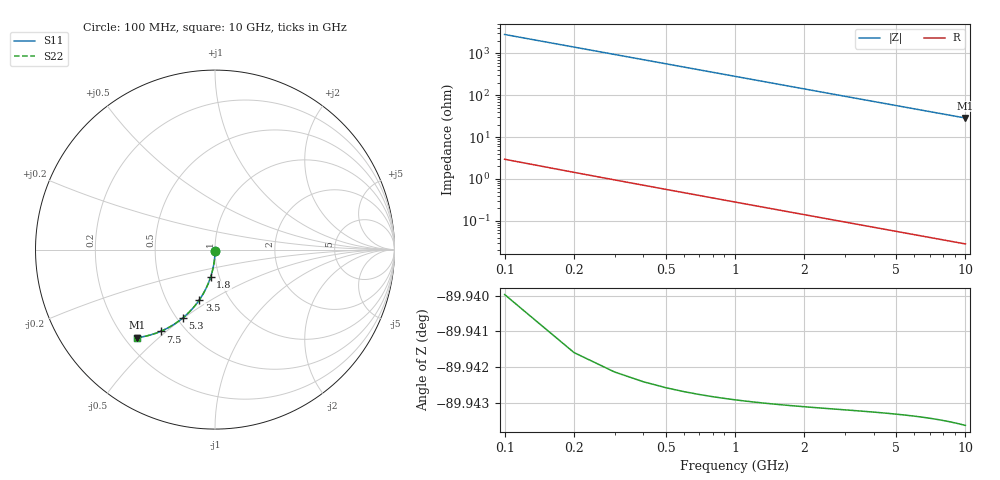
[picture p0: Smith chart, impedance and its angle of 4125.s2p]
# Hz S RI R 50.00
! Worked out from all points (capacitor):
!   100 points, 100 MHz to 10 GHz, reference 50 ohm
!   read as one part in shunt: C = 563 fF near 100 MHz
!   lowest |Z| = 28.6 ohm at 10 GHz (marker M1)
!   S11 on the Smith chart (normalised r, x): 100 MHz: 1.00, -0.02; 1.8 GHz: 0.91, -0.29; 3.5 GHz: 0.72, -0.44; 5.3 GHz: 0.54, -0.50; 7.5 GHz: 0.37, -0.48; 10 GHz: 0.25, -0.43
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1e8  -7.57e-05 -0.0088  0.9999 -0.00889  0.9999 -0.00889  -7.57e-05 -0.0088
2e8  -0.000319 -0.0176  0.9997 -0.0178  0.9997 -0.0178  -0.000319 -0.0176
3e8  -0.000719 -0.0264  0.9993 -0.0267  0.9993 -0.0267  -0.000719 -0.0264
4e8  -0.00127 -0.0352  0.9987 -0.0355  0.9987 -0.0355  -0.00127 -0.0352
5e8  -0.00198 -0.0439  0.998 -0.0444  0.998 -0.0444  -0.00198 -0.0439
6e8  -0.00285 -0.0527  0.9971 -0.0532  0.9971 -0.0532  -0.00285 -0.0527
8e8  -0.00504 -0.07  0.9949 -0.0708  0.9949 -0.0708  -0.00504 -0.07
1.1e9  -0.00946 -0.0959  0.9905 -0.0969  0.9905 -0.0969  -0.00946 -0.0959
1.4e9  -0.0152 -0.1213  0.9848 -0.1225  0.9848 -0.1225  -0.0152 -0.1213
1.8e9  -0.0248 -0.1543  0.9751 -0.156  0.9751 -0.156  -0.0248 -0.1543
2.1e9  -0.0335 -0.1784  0.9665 -0.1803  0.9665 -0.1803  -0.0335 -0.1784
2.5e9  -0.0467 -0.2094  0.9533 -0.2117  0.9533 -0.2117  -0.0467 -0.2094
2.9e9  -0.0618 -0.2389  0.9382 -0.2416  0.9382 -0.2416  -0.0618 -0.2389
3.4e9  -0.0829 -0.2737  0.9171 -0.2768  0.9171 -0.2768  -0.0829 -0.2737
3.5e9  -0.0874 -0.2803  0.9126 -0.2835  0.9126 -0.2835  -0.0874 -0.2803
4.3e9  -0.126 -0.3294  0.8739 -0.3334  0.8739 -0.3334  -0.126 -0.3294
5.1e9  -0.1684 -0.3714  0.8316 -0.3761  0.8316 -0.3761  -0.1684 -0.3714
5.3e9  -0.1794 -0.3807  0.8206 -0.3857  0.8206 -0.3857  -0.1794 -0.3807
6.7e9  -0.2584 -0.4341  0.7416 -0.4404  0.7416 -0.4404  -0.2584 -0.4341
7.5e9  -0.3036 -0.4558  0.6964 -0.4628  0.6964 -0.4628  -0.3036 -0.4558
8.4e9  -0.3532 -0.4735  0.6468 -0.4814  0.6468 -0.4814  -0.3532 -0.4735
1e10  -0.4357 -0.4906  0.5643 -0.5001  0.5643 -0.5001  -0.4357 -0.4906
